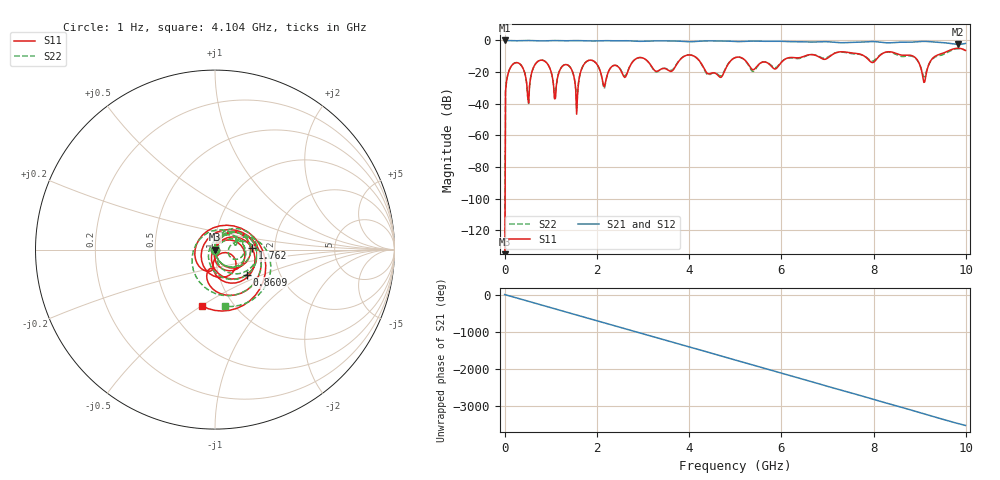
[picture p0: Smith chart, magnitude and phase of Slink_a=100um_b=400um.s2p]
! TouchStone data converted from IdEM dataset
# Hz S DB R 50
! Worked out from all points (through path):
!   500 points, 1 Hz to 9.99 GHz, reference 50 ohm
!   highest |S21| = 0.00 dB at 1 Hz (marker M1); lowest = -2.4 dB at 9.83 GHz (marker M2)
!   group delay of S21, straight-line fit = 979 ps
!   lowest |S11| = -178.2 dB at 1 Hz (marker M3), VSWR 1.00, Z = 50 + j1.23e-07 ohm
!   |S11| at or under -10 dB: start of sweep to 3.894 GHz; 4.113 GHz to 6.492 GHz (2.379 GHz wide, 44.9 % of centre); 8.861 GHz to 9.333 GHz (472.1 MHz wide, 5.19 % of centre)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
!   |S22| runs from -178.2 to -5.2 dB; largest |S21 - S12| = 3.9e-15
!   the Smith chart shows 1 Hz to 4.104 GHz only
!   S11 on the Smith chart (normalised r, x): 1 Hz: 1.00, +0.00; 860.9 MHz: 1.36, -0.40; 1.762 GHz: 1.52, +0.02; 4.104 GHz: 0.72, -0.50
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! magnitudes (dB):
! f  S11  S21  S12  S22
! 1 Hz  -178.2  0.0  0.0  -178.2
! 60.06 MHz  -22.8  0.0  0.0  -22.8
! 140.1 MHz  -16.4  -0.1  -0.1  -16.4
! 360.4 MHz  -15.7  -0.1  -0.1  -15.7
! 520.5 MHz  -39.5  0.0  0.0  -39.8
! 860.9 MHz  -12.9  -0.3  -0.3  -12.9
! 1.081 GHz  -36.8  -0.1  -0.1  -36.1
! 1.341 GHz  -15.3  -0.2  -0.2  -15.2
! 1.562 GHz  -46.6  -0.1  -0.1  -44.4
! 1.682 GHz  -17.2  -0.2  -0.2  -17.2
! 1.762 GHz  -13.7  -0.3  -0.3  -13.7
! 2.162 GHz  -29.2  -0.1  -0.1  -30.4
! 2.903 GHz  -10.9  -0.5  -0.5  -10.9
! 3.343 GHz  -18.9  -0.2  -0.2  -19.2
! 4.104 GHz  -9.9  -0.7  -0.7  -9.9
! 4.685 GHz  -23.3  -0.3  -0.3  -22.5
! 5.005 GHz  -10.8  -0.7  -0.7  -10.8
! 6.667 GHz  -8.9  -1.0  -1.0  -8.9
! 8.328 GHz  -7.1  -1.5  -1.5  -7.3
! 9.089 GHz  -26.5  -0.6  -0.6  -23.0
! 9.83 GHz  -4.9  -2.4  -2.4  -5.2
! 9.99 GHz  -6.3  -1.9  -1.9  -6.4
